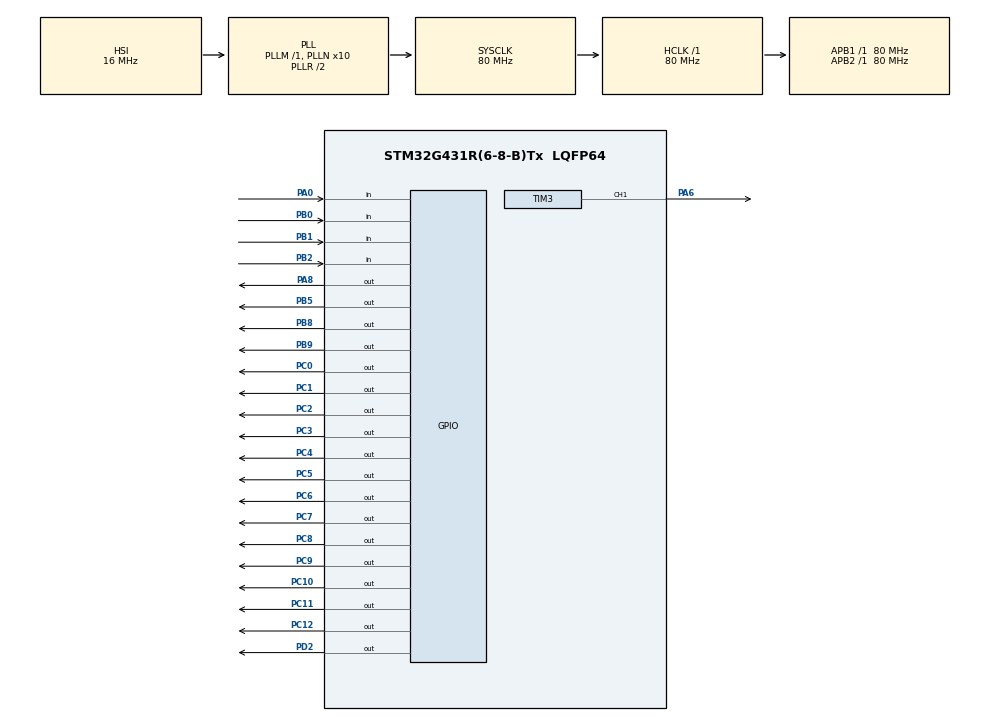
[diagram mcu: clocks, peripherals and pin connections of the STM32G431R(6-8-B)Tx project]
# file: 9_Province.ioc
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Mcu.Family=STM32G4
Mcu.Name=STM32G431R(6-8-B)Tx
Mcu.Package=LQFP64
NVIC.PriorityGroup=NVIC_PRIORITYGROUP_4
NVIC.TIM1_UP_TIM16_IRQn=true\:0\:0\:false\:false\:true\:true\:true\:true
PA0.Signal=GPIO_Input
PA13.Mode=Serial_Wire
PA13.Signal=SYS_JTMS-SWDIO
PA14.Mode=Serial_Wire
PA14.Signal=SYS_JTCK-SWCLK
PA6.Signal=S_TIM3_CH1
PA8.Signal=GPIO_Output
PB0.Signal=GPIO_Input
PB1.Signal=GPIO_Input
PB2.Signal=GPIO_Input
PB5.Signal=GPIO_Output
PB8-BOOT0.Signal=GPIO_Output
PB9.Signal=GPIO_Output
PC0.Signal=GPIO_Output
PC1.Signal=GPIO_Output
PC10.Signal=GPIO_Output
PC11.Signal=GPIO_Output
PC12.Signal=GPIO_Output
PC2.Signal=GPIO_Output
PC3.Signal=GPIO_Output
PC4.Signal=GPIO_Output
PC5.Signal=GPIO_Output
PC6.Signal=GPIO_Output
PC7.Signal=GPIO_Output
PC8.Signal=GPIO_Output
PC9.Signal=GPIO_Output
PD2.Signal=GPIO_Output
PF0-OSC_IN.Mode=HSE-External-Oscillator
PF0-OSC_IN.Signal=RCC_OSC_IN
PF1-OSC_OUT.Mode=HSE-External-Oscillator
PF1-OSC_OUT.Signal=RCC_OSC_OUT
ProjectManager.HeapSize=0x200
ProjectManager.StackSize=0x400
ProjectManager.TargetToolchain=MDK-ARM V5.32
RCC.ADC12Freq_Value=80000000
RCC.AHBFreq_Value=80000000
RCC.APB1Freq_Value=80000000
RCC.APB1TimFreq_Value=80000000
RCC.APB2Freq_Value=80000000
RCC.APB2TimFreq_Value=80000000
RCC.CortexFreq_Value=80000000
RCC.EXTERNAL_CLOCK_VALUE=12288000
RCC.HCLKFreq_Value=80000000
RCC.HSE_VALUE=8000000
RCC.HSI48_VALUE=48000000
RCC.HSI_VALUE=16000000
RCC.LSE_VALUE=32768
RCC.PLLN=10
RCC.SYSCLKFreq_VALUE=80000000
RCC.SYSCLKSource=RCC_SYSCLKSOURCE_PLLCLK
RCC.USBFreq_Value=80000000
RCC.VCOOutputFreq_Value=160000000
SH.S_TIM3_CH1.0=TIM3_CH1,PWM Generation1 CH1
TIM1.AutoReloadPreload=TIM_AUTORELOAD_PRELOAD_ENABLE
TIM1.PeriodNoDither=10000-1
TIM1.Prescaler=80-1
TIM3.Channel-PWM\ Generation1\ CH1=TIM_CHANNEL_1
TIM3.PeriodNoDither=1000-1
TIM3.Prescaler=80-1
TIM3.PulseNoDither_1=800
VP_SYS_VS_DBSignals.Mode=DisableDeadBatterySignals
VP_TIM1_VS_ClockSourceINT.Mode=Internal
VP_TIM3_VS_ClockSourceINT.Mode=Internal
board=custom

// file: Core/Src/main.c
/* USER CODE BEGIN Header */
/**
  ******************************************************************************
  * @file           : main.c
  * @brief          : Main program body
  ******************************************************************************
  * @attention
  *
  * Copyright (c) 2024 STMicroelectronics.
  * All rights reserved.
  *
  * This software is licensed under terms that can be found in the LICENSE file
  * in the root directory of this software component.
  * If no LICENSE file comes with this software, it is provided AS-IS.
  *
  ******************************************************************************
  */
/* USER CODE END Header */
#include "main.h"
#include "tim.h"
#include "gpio.h"

/* USER CODE BEGIN Includes */
#include "stdio.h"
#include "string.h"
#include "stdlib.h"
#include "interrupt.h"
#include "lcd.h"
/* USER CODE END Includes */

void SystemClock_Config(void);

/* USER CODE BEGIN 0 */
char *Statu[4]={"Standby","Setting","Running","Pause"};
volatile int store_num=1;
volatile int tim_select=0;
int tim_num[3]={0,0,0};
int tim_Sta=0;
	  unsigned char str11[30]="a2cccqqqqqqqqqqqqqq";
void Key()
{
	if(get_key_stat(0)==1)
	{
		//sprintf();
		//sscanf();
//		str11[1]++;
//		store_num++;
//		if(store_num==5){store_num=1;}
//		else 			{store_num%=5;}
	}
	if(get_key_stat(1)==1)
	{
		tim_select++;
		tim_select%=3;
	}
	if(get_key_stat(2)==1)
	{
		tim_num[tim_select]++;
	}
	if(get_key_stat(3)==1)
	{
		tim_Sta++;
		tim_Sta%=3;
	}
	set_key_stat(0,0);
	set_key_stat(1,0);
	set_key_stat(2,0);
	set_key_stat(3,0);
}
void LCD()
{
	unsigned char str[20];
	LCD_DisplayStringLine(Line1,(u8 *)"   No 1  ");
	if(tim_num[tim_select]>=99){tim_num[tim_select]=0;}
	sprintf((char *)str,"      %02d:%02d:%02d   ",tim_num[0],tim_num[1],tim_num[2]);
	switch(tim_select)
	{
		case 0:
			LCD_Light_Back(str,6,7,Line3);break;
		case 1:
			LCD_Light_Back(str,9,10,Line3);break;
		case 2:
			LCD_Light_Back(str,12,13,Line3);break;
	}
	//LCD_DisplayStringLine(Line3,str);
	sprintf((char *)str,"      %s   ",Statu[0]);
	LCD_DisplayStringLine(Line5,str);
}
/* USER CODE END 0 */

int main(void)
{

  /* MCU Configuration--------------------------------------------------------*/

  /* Reset of all peripherals, Initializes the Flash interface and the Systick. */
  HAL_Init();

  /* Configure the system clock */
  SystemClock_Config();

  /* Initialize all configured peripherals */
  MX_GPIO_Init();
  MX_TIM1_Init();
  MX_TIM3_Init();
  /* USER CODE BEGIN 2 */
  LCD_Init();
  LCD_Clear(Black);
  LCD_SetTextColor(White);
  LCD_SetBackColor(Black);
	HAL_TIM_Base_Start_IT(&htim1);
	HAL_TIM_PWM_Start(&htim3,TIM_CHANNEL_1);
	LED_Disp(0x00);
  /* USER CODE END 2 */

  /* Infinite loop */
  while (1)
  {

    /* USER CODE BEGIN 3 */

	  Key();
	  LCD();
	  LCD_Text_Back(str11,1,10,Line0);

  }
  /* USER CODE END 3 */
}

void SystemClock_Config(void)
{
  RCC_OscInitTypeDef RCC_OscInitStruct = {0};
  RCC_ClkInitTypeDef RCC_ClkInitStruct = {0};

  /** Configure the main internal regulator output voltage
  */
  HAL_PWREx_ControlVoltageScaling(PWR_REGULATOR_VOLTAGE_SCALE1);

  /** Initializes the RCC Oscillators according to the specified parameters
  * in the RCC_OscInitTypeDef structure.
  */
  RCC_OscInitStruct.OscillatorType = RCC_OSCILLATORTYPE_HSI;
  RCC_OscInitStruct.HSIState = RCC_HSI_ON;
  RCC_OscInitStruct.HSICalibrationValue = RCC_HSICALIBRATION_DEFAULT;
  RCC_OscInitStruct.PLL.PLLState = RCC_PLL_ON;
  RCC_OscInitStruct.PLL.PLLSource = RCC_PLLSOURCE_HSI;
  RCC_OscInitStruct.PLL.PLLM = RCC_PLLM_DIV1;
  RCC_OscInitStruct.PLL.PLLN = 10;
  RCC_OscInitStruct.PLL.PLLP = RCC_PLLP_DIV2;
  RCC_OscInitStruct.PLL.PLLQ = RCC_PLLQ_DIV2;
  RCC_OscInitStruct.PLL.PLLR = RCC_PLLR_DIV2;
  if (HAL_RCC_OscConfig(&RCC_OscInitStruct) != HAL_OK)
  {
    Error_Handler();
  }

  /** Initializes the CPU, AHB and APB buses clocks
  */
  RCC_ClkInitStruct.ClockType = RCC_CLOCKTYPE_HCLK|RCC_CLOCKTYPE_SYSCLK
                              |RCC_CLOCKTYPE_PCLK1|RCC_CLOCKTYPE_PCLK2;
  RCC_ClkInitStruct.SYSCLKSource = RCC_SYSCLKSOURCE_PLLCLK;
  RCC_ClkInitStruct.AHBCLKDivider = RCC_SYSCLK_DIV1;
  RCC_ClkInitStruct.APB1CLKDivider = RCC_HCLK_DIV1;
  RCC_ClkInitStruct.APB2CLKDivider = RCC_HCLK_DIV1;

  if (HAL_RCC_ClockConfig(&RCC_ClkInitStruct, FLASH_LATENCY_2) != HAL_OK)
  {
    Error_Handler();
  }
}

void Error_Handler(void)
{
  __disable_irq();
  while (1)
  {
  }
}
